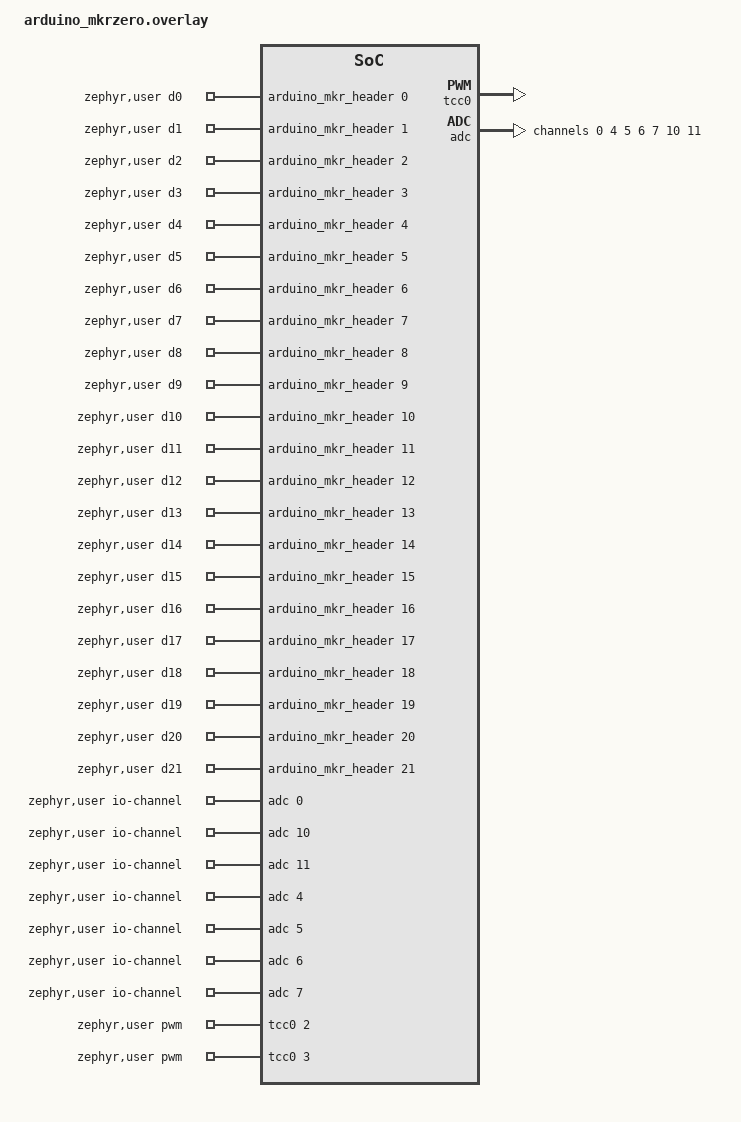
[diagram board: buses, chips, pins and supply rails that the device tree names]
/*
 * Copyright (c) 2022 Dhruva Gole <goledhruva@gmail.com>
 *
 * SPDX-License-Identifier: Apache-2.0
 */

#include <zephyr/dt-bindings/adc/adc.h>

/ {
	zephyr,user {
		d0_gpios = <&arduino_mkr_header 0 0>;
		d1_gpios = <&arduino_mkr_header 1 0>;
		d2_gpios = <&arduino_mkr_header 2 0>;
		d3_gpios = <&arduino_mkr_header 3 0>;
		d4_gpios = <&arduino_mkr_header 4 0>;
		d5_gpios = <&arduino_mkr_header 5 0>;
		d6_gpios = <&arduino_mkr_header 6 0>;
		d7_gpios = <&arduino_mkr_header 7 0>;
		d8_gpios = <&arduino_mkr_header 8 0>;
		d9_gpios = <&arduino_mkr_header 9 0>;
		d10_gpios = <&arduino_mkr_header 10 0>;
		d11_gpios = <&arduino_mkr_header  11 0>;
		d12_gpios = <&arduino_mkr_header 12 0>;
		d13_gpios = <&arduino_mkr_header 13 0>;
		d14_gpios = <&arduino_mkr_header 14 0>; /* D14 / A0 */
		d15_gpios = <&arduino_mkr_header 15 0>;
		d16_gpios = <&arduino_mkr_header 16 0>;
		d17_gpios = <&arduino_mkr_header 17 0>;
		d18_gpios = <&arduino_mkr_header 18 0>; /* D18 / A4 / I2C-SDA */
		d19_gpios = <&arduino_mkr_header 19 0>; /* D19 / A5 / I2C-SCL */
		d20_gpios = <&arduino_mkr_header 20 0>;
		d21_gpios = <&arduino_mkr_header 21 0>;

		pwms =	<&tcc0 2 255>,
			<&tcc0 3 255>;
		pwm-pins = <2 3>;

		io-channels =	<&adc 0>,
				<&adc 10>,
				<&adc 11>,
				<&adc 4>,
				<&adc 5>,
				<&adc 6>,
				<&adc 7>;
		io-channel-pins = <15 16 17 18 19 20 21>;

		serials = <&sercom5>;
	};
};

&pinctrl {
	pwm_default: pwm_default {
		group1 {
			pinmux = <PA10F_TCC0_WO2>,
				 <PA11F_TCC0_WO3>;
		};
	};

	adc_default: adc_default {
		group1 {
			pinmux = <PA2B_ADC_AIN0>,
				 <PB2B_ADC_AIN10>,
				 <PB3B_ADC_AIN11>,
				 <PA4B_ADC_AIN4>,
				 <PA5B_ADC_AIN5>,
				 <PA6B_ADC_AIN6>,
				 <PA7B_ADC_AIN7>;
		};
	};
};

&tcc0 {
	status = "okay";
	compatible = "atmel,sam0-tcc-pwm";
	prescaler = <2>;
	#pwm-cells = <2>;

	pinctrl-0 = <&pwm_default>;
	pinctrl-names = "default";
};

&adc {
	status = "okay";
	pinctrl-0 = <&adc_default>;
	pinctrl-names = "default";

	#address-cells = <1>;
	#size-cells = <0>;

	channel@0 {
		reg = <0x0>;
		zephyr,gain = "ADC_GAIN_1";
		zephyr,reference = "ADC_REF_INTERNAL";
		zephyr,acquisition-time = <ADC_ACQ_TIME_DEFAULT>;
		zephyr,resolution = <10>;
		zephyr,input-positive = <0>;
	};

	channel@4 {
		reg = <0x4>;
		zephyr,gain = "ADC_GAIN_1";
		zephyr,reference = "ADC_REF_INTERNAL";
		zephyr,acquisition-time = <ADC_ACQ_TIME_DEFAULT>;
		zephyr,resolution = <10>;
		zephyr,input-positive = <4>;
	};

	channel@5 {
		reg = <0x5>;
		zephyr,gain = "ADC_GAIN_1";
		zephyr,reference = "ADC_REF_INTERNAL";
		zephyr,acquisition-time = <ADC_ACQ_TIME_DEFAULT>;
		zephyr,resolution = <10>;
		zephyr,input-positive = <5>;
	};

	channel@6 {
		reg = <0x6>;
		zephyr,gain = "ADC_GAIN_1";
		zephyr,reference = "ADC_REF_INTERNAL";
		zephyr,acquisition-time = <ADC_ACQ_TIME_DEFAULT>;
		zephyr,resolution = <10>;
		zephyr,input-positive = <6>;
	};

	channel@7 {
		reg = <0x7>;
		zephyr,gain = "ADC_GAIN_1";
		zephyr,reference = "ADC_REF_INTERNAL";
		zephyr,acquisition-time = <ADC_ACQ_TIME_DEFAULT>;
		zephyr,resolution = <10>;
		zephyr,input-positive = <7>;
	};

	channel@a {
		reg = <0xa>;
		zephyr,gain = "ADC_GAIN_1";
		zephyr,reference = "ADC_REF_INTERNAL";
		zephyr,acquisition-time = <ADC_ACQ_TIME_DEFAULT>;
		zephyr,resolution = <10>;
		zephyr,input-positive = <10>;
	};

	channel@b {
		reg = <0xb>;
		zephyr,gain = "ADC_GAIN_1";
		zephyr,reference = "ADC_REF_INTERNAL";
		zephyr,acquisition-time = <ADC_ACQ_TIME_DEFAULT>;
		zephyr,resolution = <10>;
		zephyr,input-positive = <11>;
	};
};
